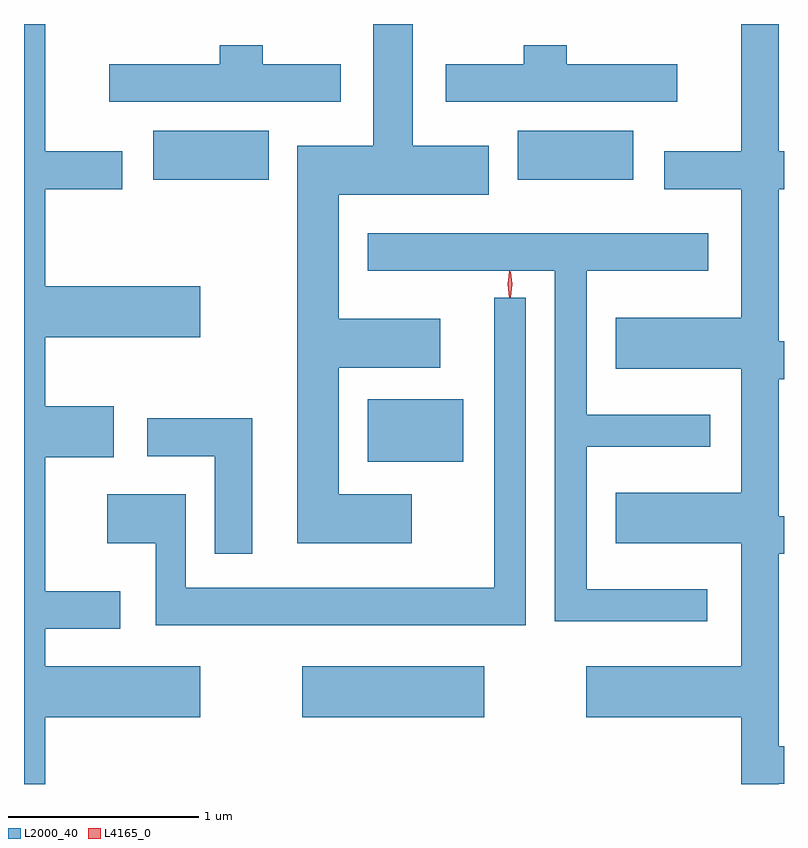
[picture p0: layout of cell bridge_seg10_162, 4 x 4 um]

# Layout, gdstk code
import gdstk
lib = gdstk.Library(unit=1e-6, precision=1e-09)
def R(c, l, rs):  # rectangles x0, y0, x1, y1
    for r in rs: c.add(gdstk.rectangle(r[:2], r[2:], *l))
def P(c, l, *ps):  # polygons
    for p in ps: c.add(gdstk.Polygon(p, *l))
L2000_40 = (2000, 40)
L4165_0 = (4165, 0)

bridge_seg10_162 = lib.new_cell('bridge_seg10_162')
R(bridge_seg10_162, L2000_40, [(1816.941,2139.966,1817.899,2140.234), (1817.286,2141.311,1817.789,2141.639), (1816.156,2142.796,1816.764,2143.054), (1818.076,2142.796,1818.684,2143.054)])
P(bridge_seg10_162, L2000_40, [(1817.519,2141.139),(1817.134,2141.139),(1817.134,2141.806),(1817.669,2141.806),(1817.669,2142.064),(1817.134,2142.064),(1817.134,2142.716),(1817.924,2142.716),(1817.924,2142.974),(1817.524,2142.974),(1817.524,2143.615),(1817.316,2143.615),(1817.316,2142.974),(1816.916,2142.974),(1816.916,2140.881),(1817.519,2140.881)],
  [(1819.449,2139.616),(1819.477,2139.616),(1819.477,2139.814),(1819.449,2139.814),(1819.449,2140.826),(1819.477,2140.826),(1819.477,2141.024),(1819.449,2141.024),(1819.449,2141.746),(1819.477,2141.746),(1819.477,2141.944),(1819.449,2141.944),(1819.449,2142.746),(1819.477,2142.746),(1819.477,2142.944),(1819.449,2142.944),(1819.449,2143.615),(1819.251,2143.615),(1819.251,2142.944),(1818.846,2142.944),(1818.846,2142.746),(1819.251,2142.746),(1819.251,2142.069),(1818.591,2142.069),(1818.591,2141.801),(1819.251,2141.801),(1819.251,2141.149),(1818.591,2141.149),(1818.591,2140.881),(1819.251,2140.881),(1819.251,2140.234),(1818.436,2140.234),(1818.436,2139.966),(1819.251,2139.966),(1819.251,2139.615),(1819.449,2139.615)],
  [(1815.589,2139.966),(1816.404,2139.966),(1816.404,2140.234),(1815.589,2140.234),(1815.589,2140.431),(1815.984,2140.431),(1815.984,2140.629),(1815.589,2140.629),(1815.589,2141.336),(1815.949,2141.336),(1815.949,2141.604),(1815.589,2141.604),(1815.589,2141.966),(1816.404,2141.966),(1816.404,2142.234),(1815.589,2142.234),(1815.589,2142.746),(1815.994,2142.746),(1815.994,2142.944),(1815.589,2142.944),(1815.589,2143.615),(1815.477,2143.615),(1815.477,2139.615),(1815.589,2139.615)],
  [(1817.144,2143.404),(1816.734,2143.404),(1816.734,2143.504),(1816.506,2143.504),(1816.506,2143.404),(1815.926,2143.404),(1815.926,2143.206),(1817.144,2143.206)],
  [(1818.914,2143.404),(1818.334,2143.404),(1818.334,2143.504),(1818.106,2143.504),(1818.106,2143.404),(1817.696,2143.404),(1817.696,2143.206),(1818.914,2143.206)],
  [(1819.073,2140.639),(1818.439,2140.639),(1818.439,2141.391),(1819.088,2141.391),(1819.088,2141.559),(1818.439,2141.559),(1818.439,2142.316),(1819.079,2142.316),(1819.079,2142.514),(1817.286,2142.514),(1817.286,2142.316),(1818.271,2142.316),(1818.271,2140.471),(1819.073,2140.471)],
  [(1818.119,2142.173),(1817.951,2142.173),(1817.951,2140.649),(1816.329,2140.649),(1816.329,2141.139),(1815.916,2141.139),(1815.916,2140.881),(1816.171,2140.881),(1816.171,2140.451),(1818.119,2140.451)],
  [(1816.679,2141.539),(1816.126,2141.539),(1816.126,2141.341),(1816.481,2141.341),(1816.481,2140.826),(1816.679,2140.826)])
P(bridge_seg10_162, L4165_0, [(1818.032,2142.174),(1818.032,2142.175),(1818.022,2142.244),(1818.032,2142.313),(1818.032,2142.314),(1818.033,2142.313),(1818.042,2142.244),(1818.033,2142.175)],
  [(1818.037,2142.178),(1818.037,2142.178),(1818.028,2142.244),(1818.037,2142.31),(1818.038,2142.311),(1818.038,2142.31),(1818.048,2142.244),(1818.038,2142.178)])

lib.write_gds('bridge_seg10_162.gds')
